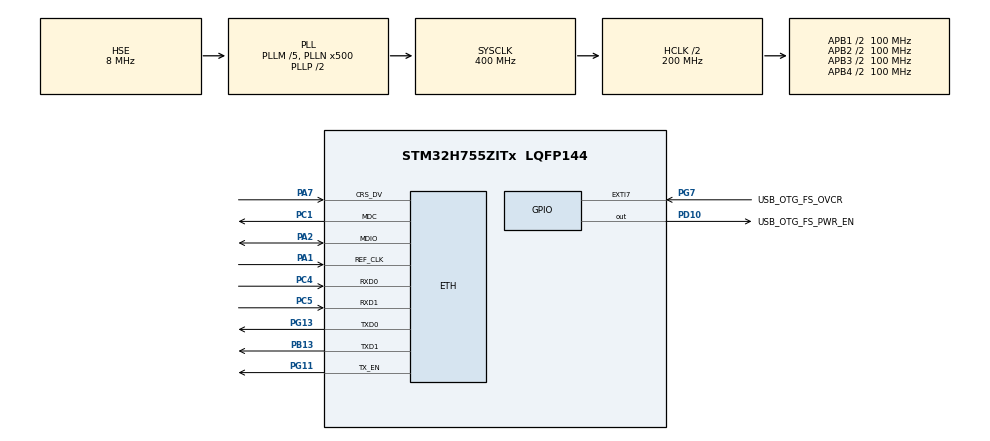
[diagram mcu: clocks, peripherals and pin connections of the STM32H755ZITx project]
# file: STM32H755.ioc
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CortexM4.IPs=FATFS_M4\:I,FREERTOS_M4\:I,IWDG2\:I,RCC,WWDG2\:I,DMA,BDMA,MDMA,NVIC2\:I,ETH\:I,USART3,DEBUG,PDM2PCM_M4\:I,PWR,RESMGR_UTILITY,SYS_M4\:I,USB_DEVICE_M4\:I,USB_HOST_M4\:I,CORTEX_M4\:I,GPIO,OPENAMP_M4\:I,VREFBUF,NUCLEO-H755ZI-Q,TIM1,TIM2,LWIP\:I
CortexM7.IPs=FATFS_M7\:I,FREERTOS_M7\:I,IWDG1\:I,RCC\:I,WWDG1\:I,DMA\:I,BDMA\:I,MDMA\:I,NVIC1\:I,USART3\:I,USB_OTG_FS\:I,USB_OTG_FS1\:I,SYS\:I,CORTEX_M7\:I,DEBUG\:I,PDM2PCM_M7\:I,PWR\:I,RESMGR_UTILITY\:I,USB_DEVICE_M7\:I,USB_HOST_M7\:I,GPIO\:I,OPENAMP_M7\:I,VREFBUF\:I,NUCLEO-H755ZI-Q\:I,TIM1\:I,TIM2\:I
ETH.MediaInterface=HAL_ETH_RMII_MODE
FREERTOS_M4.Tasks01=defaultTask,24,128,StartDefaultTask,Default,NULL,Dynamic,NULL,NULL
FREERTOS_M7.Tasks01=defaultTask,24,128,StartDefaultTask,Default,NULL,Dynamic,NULL,NULL
LWIP.BSP.number=1
LWIP.GATEWAY_ADDRESS=192.168.011.001
LWIP.IP_ADDRESS=192.168.011.101
LWIP.LWIP_DHCP=0
LWIP.NETMASK_ADDRESS=255.255.255.000
LWIP.Version=v2.2.1_Cube
LWIP0.BSP.STBoard=false
LWIP0.BSP.api=BSP_COMPONENT_DRIVER
LWIP0.BSP.component=LAN8742
LWIP0.BSP.instance=LAN8742
LWIP0.BSP.name=Driver_PHY
LWIP0.BSP.semaphore=S_LAN8742
LWIP0.BSP.solution=LAN8742
Mcu.Family=STM32H7
Mcu.Name=STM32H755ZITx
Mcu.Package=LQFP144
NUCLEO-H755ZI-Q.BUTTON=1
NUCLEO-H755ZI-Q.Bsp_Common_DEMO=true
NUCLEO-H755ZI-Q.LD1=true
NUCLEO-H755ZI-Q.LD2=true
NUCLEO-H755ZI-Q.LD3=true
NUCLEO-H755ZI-Q.VCP=true
NVIC1.EXTI15_10_IRQn=true\:5\:0\:false\:false\:true\:true\:false\:true\:true
NVIC1.PriorityGroup=NVIC_PRIORITYGROUP_4
NVIC1.TIM1_UP_IRQn=true\:15\:0\:false\:false\:true\:false\:false\:true\:true
NVIC1.TimeBase=TIM1_UP_IRQn
NVIC1.TimeBaseIP=TIM1
NVIC2.ETH_IRQn=true\:5\:0\:false\:false\:true\:false\:false\:true\:true
NVIC2.PriorityGroup=NVIC_PRIORITYGROUP_4
NVIC2.TIM2_IRQn=true\:15\:0\:false\:false\:true\:false\:false\:true\:true
NVIC2.TimeBase=TIM2_IRQn
NVIC2.TimeBaseIP=TIM2
PA1.Mode=RMII
PA1.PinAttribute=CortexM4
PA1.Signal=ETH_REF_CLK
PA11.PinAttribute=CortexM7
PA11.Signal=USB_OTG_FS_DM
PA12.PinAttribute=CortexM7
PA12.Signal=USB_OTG_FS_DP
PA2.Mode=RMII
PA2.PinAttribute=CortexM4
PA2.Signal=ETH_MDIO
PA7.Mode=RMII
PA7.PinAttribute=CortexM4
PA7.Signal=ETH_CRS_DV
PA8.PinAttribute=CortexM7
PA8.Signal=USB_OTG_FS_SOF
PA9.PinAttribute=CortexM7
PA9.Signal=USB_OTG_FS_VBUS
PB13.Mode=RMII
PB13.PinAttribute=CortexM4
PB13.Signal=ETH_TXD1
PC1.Mode=RMII
PC1.PinAttribute=CortexM4
PC1.Signal=ETH_MDC
PC14-OSC32_IN\ (OSC32_IN).Mode=LSE-External-Oscillator
PC14-OSC32_IN\ (OSC32_IN).PinAttribute=Free
PC14-OSC32_IN\ (OSC32_IN).Signal=RCC_OSC32_IN
PC15-OSC32_OUT\ (OSC32_OUT).Mode=LSE-External-Oscillator
PC15-OSC32_OUT\ (OSC32_OUT).PinAttribute=Free
PC15-OSC32_OUT\ (OSC32_OUT).Signal=RCC_OSC32_OUT
PC4.Mode=RMII
PC4.PinAttribute=CortexM4
PC4.Signal=ETH_RXD0
PC5.Mode=RMII
PC5.PinAttribute=CortexM4
PC5.Signal=ETH_RXD1
PD10.GPIO_Label=USB_OTG_FS_PWR_EN
PD10.PinAttribute=Free
PD10.Signal=GPIO_Output
PD8.Signal=USART3_TX
PD9.Signal=USART3_RX
PG11.Mode=RMII
PG11.PinAttribute=CortexM4
PG11.Signal=ETH_TX_EN
PG13.Mode=RMII
PG13.PinAttribute=CortexM4
PG13.Signal=ETH_TXD0
PG7.GPIO_Label=USB_OTG_FS_OVCR
PG7.PinAttribute=Free
PG7.Signal=GPXTI7
PH0-OSC_IN\ (PH0).Mode=HSE-External-Oscillator
PH0-OSC_IN\ (PH0).PinAttribute=Free
PH0-OSC_IN\ (PH0).Signal=RCC_OSC_IN
PH1-OSC_OUT\ (PH1).Mode=HSE-External-Oscillator
PH1-OSC_OUT\ (PH1).PinAttribute=Free
PH1-OSC_OUT\ (PH1).Signal=RCC_OSC_OUT
ProjectManager.HeapSize=M4-0x200,M7-0x200
ProjectManager.StackSize=M4-0x400,M7-0x400
ProjectManager.TargetToolchain=STM32CubeIDE
RCC.ADCFreq_Value=16125000
RCC.APB1Freq_Value=100000000
RCC.APB2Freq_Value=100000000
RCC.APB3Freq_Value=100000000
RCC.APB4Freq_Value=100000000
RCC.CortexFreq_Value=400000000
RCC.D1PPRE=RCC_APB3_DIV2
RCC.D2PPRE1=RCC_APB1_DIV2
RCC.D2PPRE2=RCC_APB2_DIV2
RCC.D3PPRE=RCC_APB4_DIV2
RCC.DIVM1=5
RCC.DIVN1=500
RCC.DIVQ1=5
RCC.EnbaleCSS=true
RCC.HCLKFreq_Value=200000000
RCC.HPRE=RCC_HCLK_DIV2
RCC.HSE_VALUE=8000000
RCC.PLL2FRACN=0
RCC.PLL3FRACN=0
RCC.PLLFRACN=0
RCC.PLLSourceVirtual=RCC_PLLSOURCE_HSE
RCC.SYSCLKFreq_VALUE=400000000
RCC.SYSCLKSource=RCC_SYSCLKSOURCE_PLLCLK
RCC.SupplySource=PWR_DIRECT_SMPS_SUPPLY
RCC.USBFreq_Value=160000000
VP_FREERTOS_M4_VS_CMSIS_V2.Mode=CMSIS_V2
VP_FREERTOS_M7_VS_CMSIS_V2.Mode=CMSIS_V2
VP_LWIP_VS_Enabled.Mode=Enabled
VP_NUCLEO-H755ZI-Q_VS_BSP_COMMON.Mode=COMMON
VP_SYS_M4_VS_tim2.Mode=TIM2
VP_SYS_VS_tim1.Mode=TIM1
board=NUCLEO-H755ZI-Q

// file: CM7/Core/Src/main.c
/* USER CODE BEGIN Header */
/**
  ******************************************************************************
  * @file           : main.c
  * @brief          : Main program body
  ******************************************************************************
  * @attention
  *
  * Copyright (c) 2026 STMicroelectronics.
  * All rights reserved.
  *
  * This software is licensed under terms that can be found in the LICENSE file
  * in the root directory of this software component.
  * If no LICENSE file comes with this software, it is provided AS-IS.
  *
  ******************************************************************************
  */
/* USER CODE END Header */
#include "main.h"
#include "FreeRTOS.h"
#include "cmsis_os2.h"

/* USER CODE BEGIN Includes */
#include "MODULEs/periphery/led/led.h"
#include "MODULEs/periphery/led/led_config.h"
#include "MODULEs/net/web/web_ipc_server.h"
#include "web_ipc_shared.h"
#include "stm32h7xx_hal.h"
/* USER CODE END Includes */

/* USER CODE BEGIN PD */

/* DUAL_CORE_BOOT_SYNC_SEQUENCE: Define for dual core boot synchronization    */
/*                             demonstration code based on hardware semaphore */
/* This define is present in both CM7/CM4 projects                            */
/* To comment when developping/debugging on a single core                     */
#define DUAL_CORE_BOOT_SYNC_SEQUENCE

#if defined(DUAL_CORE_BOOT_SYNC_SEQUENCE)
#ifndef HSEM_ID_0
#define HSEM_ID_0 (0U) /* HW semaphore 0*/
#endif
#endif /* DUAL_CORE_BOOT_SYNC_SEQUENCE */

/* USER CODE END PD */

COM_InitTypeDef BspCOMInit;
__IO uint32_t BspButtonState = BUTTON_RELEASED;

/* Definitions for defaultTask */
osThreadId_t defaultTaskHandle;
const osThreadAttr_t defaultTask_attributes = {
  .name = "defaultTask",
  .stack_size = 128 * 4,
  .priority = (osPriority_t) osPriorityNormal,
};

void SystemClock_Config(void);
static void MX_GPIO_Init(void);
void StartDefaultTask(void *argument);

int main(void)
{

/* USER CODE BEGIN Boot_Mode_Sequence_0 */
#if defined(DUAL_CORE_BOOT_SYNC_SEQUENCE)
  int32_t timeout;
#endif /* DUAL_CORE_BOOT_SYNC_SEQUENCE */
/* USER CODE END Boot_Mode_Sequence_0 */

/* USER CODE BEGIN Boot_Mode_Sequence_1 */
#if defined(DUAL_CORE_BOOT_SYNC_SEQUENCE)
  /* Wait until CPU2 boots and enters in stop mode or timeout*/
  timeout = 0xFFFF;
  while((__HAL_RCC_GET_FLAG(RCC_FLAG_D2CKRDY) != RESET) && (timeout-- > 0));
  if ( timeout < 0 )
  {
  Error_Handler();
  }
#endif /* DUAL_CORE_BOOT_SYNC_SEQUENCE */
/* USER CODE END Boot_Mode_Sequence_1 */
  /* MCU Configuration--------------------------------------------------------*/

  /* Reset of all peripherals, Initializes the Flash interface and the Systick. */
  HAL_Init();

  /* Configure the system clock */
  SystemClock_Config();
/* USER CODE BEGIN Boot_Mode_Sequence_2 */
#if defined(DUAL_CORE_BOOT_SYNC_SEQUENCE)
/* When system initialization is finished, Cortex-M7 will release Cortex-M4 by means of
HSEM notification */
/*HW semaphore Clock enable*/
__HAL_RCC_HSEM_CLK_ENABLE();
/*Take HSEM */
HAL_HSEM_FastTake(HSEM_ID_0);
/*Release HSEM in order to notify the CPU2(CM4)*/
HAL_HSEM_Release(HSEM_ID_0,0);
/* wait until CPU2 wakes up from stop mode */
timeout = 0xFFFF;
while((__HAL_RCC_GET_FLAG(RCC_FLAG_D2CKRDY) == RESET) && (timeout-- > 0));
if ( timeout < 0 )
{
Error_Handler();
}
#endif /* DUAL_CORE_BOOT_SYNC_SEQUENCE */
/* USER CODE END Boot_Mode_Sequence_2 */

  /* Initialize all configured peripherals */
  MX_GPIO_Init();

  /* Init scheduler */
  osKernelInitialize();

  /* Create the thread(s) */
  /* creation of defaultTask */
  defaultTaskHandle = osThreadNew(StartDefaultTask, NULL, &defaultTask_attributes);

  /* USER CODE BEGIN RTOS_THREADS */
  /* add threads, ... */
  const osThreadAttr_t ledTask_attributes = {
    .name = "ledTask",
    .stack_size = 128 * 4,
    .priority = (osPriority_t) osPriorityNormal,
  };
  defaultTaskHandle = osThreadNew(ledTask, NULL, &ledTask_attributes);
  web_ipc_server_start();
  /* USER CODE END RTOS_THREADS */

  /* Initialize leds */
  BSP_LED_Init(LED_GREEN);
  BSP_LED_Init(LED_YELLOW);
  BSP_LED_Init(LED_RED);

  /* Initialize USER push-button, will be used to trigger an interrupt each time it's pressed.*/
  BSP_PB_Init(BUTTON_USER, BUTTON_MODE_EXTI);

  /* Initialize COM1 port (115200, 8 bits (7-bit data + 1 stop bit), no parity */
  BspCOMInit.BaudRate   = 115200;
  BspCOMInit.WordLength = COM_WORDLENGTH_8B;
  BspCOMInit.StopBits   = COM_STOPBITS_1;
  BspCOMInit.Parity     = COM_PARITY_NONE;
  BspCOMInit.HwFlowCtl  = COM_HWCONTROL_NONE;
  if (BSP_COM_Init(COM1, &BspCOMInit) != BSP_ERROR_NONE)
  {
    Error_Handler();
  }

  /* USER CODE BEGIN BSP */
  /* -- Sample board code to send message over COM1 port ---- */
  printf("Welcome to STM32 world !\n\r");
  /* -- Sample board code to switch on leds ---- */
  BSP_LED_On(LED_GREEN);
  BSP_LED_On(LED_YELLOW);
  BSP_LED_On(LED_RED);
  /* USER CODE END BSP */

  /* Start scheduler */
  osKernelStart();

  /* We should never get here as control is now taken by the scheduler */

  /* Infinite loop */
  while (1)
  {

  }
}

void SystemClock_Config(void)
{
  RCC_OscInitTypeDef RCC_OscInitStruct = {0};
  RCC_ClkInitTypeDef RCC_ClkInitStruct = {0};

  /** Supply configuration update enable
  */
  HAL_PWREx_ConfigSupply(PWR_DIRECT_SMPS_SUPPLY);

  /** Configure the main internal regulator output voltage
  */
  __HAL_PWR_VOLTAGESCALING_CONFIG(PWR_REGULATOR_VOLTAGE_SCALE1);

  while(!__HAL_PWR_GET_FLAG(PWR_FLAG_VOSRDY)) {}

  /** Initializes the RCC Oscillators according to the specified parameters
  * in the RCC_OscInitTypeDef structure.
  */
  RCC_OscInitStruct.OscillatorType = RCC_OSCILLATORTYPE_HSE;
  RCC_OscInitStruct.HSEState = RCC_HSE_ON;
  RCC_OscInitStruct.PLL.PLLState = RCC_PLL_ON;
  RCC_OscInitStruct.PLL.PLLSource = RCC_PLLSOURCE_HSE;
  RCC_OscInitStruct.PLL.PLLM = 5;
  RCC_OscInitStruct.PLL.PLLN = 500;
  RCC_OscInitStruct.PLL.PLLP = 2;
  RCC_OscInitStruct.PLL.PLLQ = 5;
  RCC_OscInitStruct.PLL.PLLR = 2;
  RCC_OscInitStruct.PLL.PLLRGE = RCC_PLL1VCIRANGE_0;
  RCC_OscInitStruct.PLL.PLLVCOSEL = RCC_PLL1VCOWIDE;
  RCC_OscInitStruct.PLL.PLLFRACN = 0;
  if (HAL_RCC_OscConfig(&RCC_OscInitStruct) != HAL_OK)
  {
    Error_Handler();
  }

  /** Initializes the CPU, AHB and APB buses clocks
  */
  RCC_ClkInitStruct.ClockType = RCC_CLOCKTYPE_HCLK|RCC_CLOCKTYPE_SYSCLK
                              |RCC_CLOCKTYPE_PCLK1|RCC_CLOCKTYPE_PCLK2
                              |RCC_CLOCKTYPE_D3PCLK1|RCC_CLOCKTYPE_D1PCLK1;
  RCC_ClkInitStruct.SYSCLKSource = RCC_SYSCLKSOURCE_PLLCLK;
  RCC_ClkInitStruct.SYSCLKDivider = RCC_SYSCLK_DIV1;
  RCC_ClkInitStruct.AHBCLKDivider = RCC_HCLK_DIV2;
  RCC_ClkInitStruct.APB3CLKDivider = RCC_APB3_DIV2;
  RCC_ClkInitStruct.APB1CLKDivider = RCC_APB1_DIV2;
  RCC_ClkInitStruct.APB2CLKDivider = RCC_APB2_DIV2;
  RCC_ClkInitStruct.APB4CLKDivider = RCC_APB4_DIV2;

  if (HAL_RCC_ClockConfig(&RCC_ClkInitStruct, FLASH_LATENCY_2) != HAL_OK)
  {
    Error_Handler();
  }

  /** Enables the Clock Security System
  */
  HAL_RCC_EnableCSS();
}

static void MX_GPIO_Init(void)
{
  GPIO_InitTypeDef GPIO_InitStruct = {0};

  /* GPIO Ports Clock Enable */
  __HAL_RCC_GPIOA_CLK_ENABLE();

  /*Configure GPIO pins : PA8 PA11 PA12 */
  GPIO_InitStruct.Pin = GPIO_PIN_8|GPIO_PIN_11|GPIO_PIN_12;
  GPIO_InitStruct.Mode = GPIO_MODE_AF_PP;
  GPIO_InitStruct.Pull = GPIO_NOPULL;
  GPIO_InitStruct.Speed = GPIO_SPEED_FREQ_LOW;
  GPIO_InitStruct.Alternate = GPIO_AF10_OTG1_FS;
  HAL_GPIO_Init(GPIOA, &GPIO_InitStruct);

}

void StartDefaultTask(void *argument)
{
  /* USER CODE BEGIN 5 */
	cycle_blink_led(GREEN_LED, 1000);
	/* Infinite loop */
	for (;;) {
		if (BspButtonState == BUTTON_PRESSED) {
			BspButtonState = BUTTON_RELEASED;
			/* Broadcast "love you" heart to all SSE web clients via CM4 */
			web_ipc_shared_t *sh = web_ipc_shared();
			__HAL_RCC_HSEM_CLK_ENABLE();
			if (HAL_HSEM_Take(HSEM_ID_WEB, 0) == HAL_OK) {
				sh->love_event_seq++;
				__DSB();
				HAL_HSEM_Release(HSEM_ID_WEB, 0);
			} else {
				sh->love_event_seq++;
				__DSB();
			}
		}
		osDelay(1);
	}
  /* USER CODE END 5 */
}

void HAL_TIM_PeriodElapsedCallback(TIM_HandleTypeDef *htim)
{
  if (htim->Instance == TIM1)
  {
    HAL_IncTick();
  }
}

/**
  * @brief  BSP Push Button callback
  * @param  Button Specifies the pressed button
  * @retval None
  */
void BSP_PB_Callback(Button_TypeDef Button)
{
  if (Button == BUTTON_USER)
  {
    BspButtonState = BUTTON_PRESSED;
  }
}

void Error_Handler(void)
{
  __disable_irq();
  while (1)
  {
  }
}
